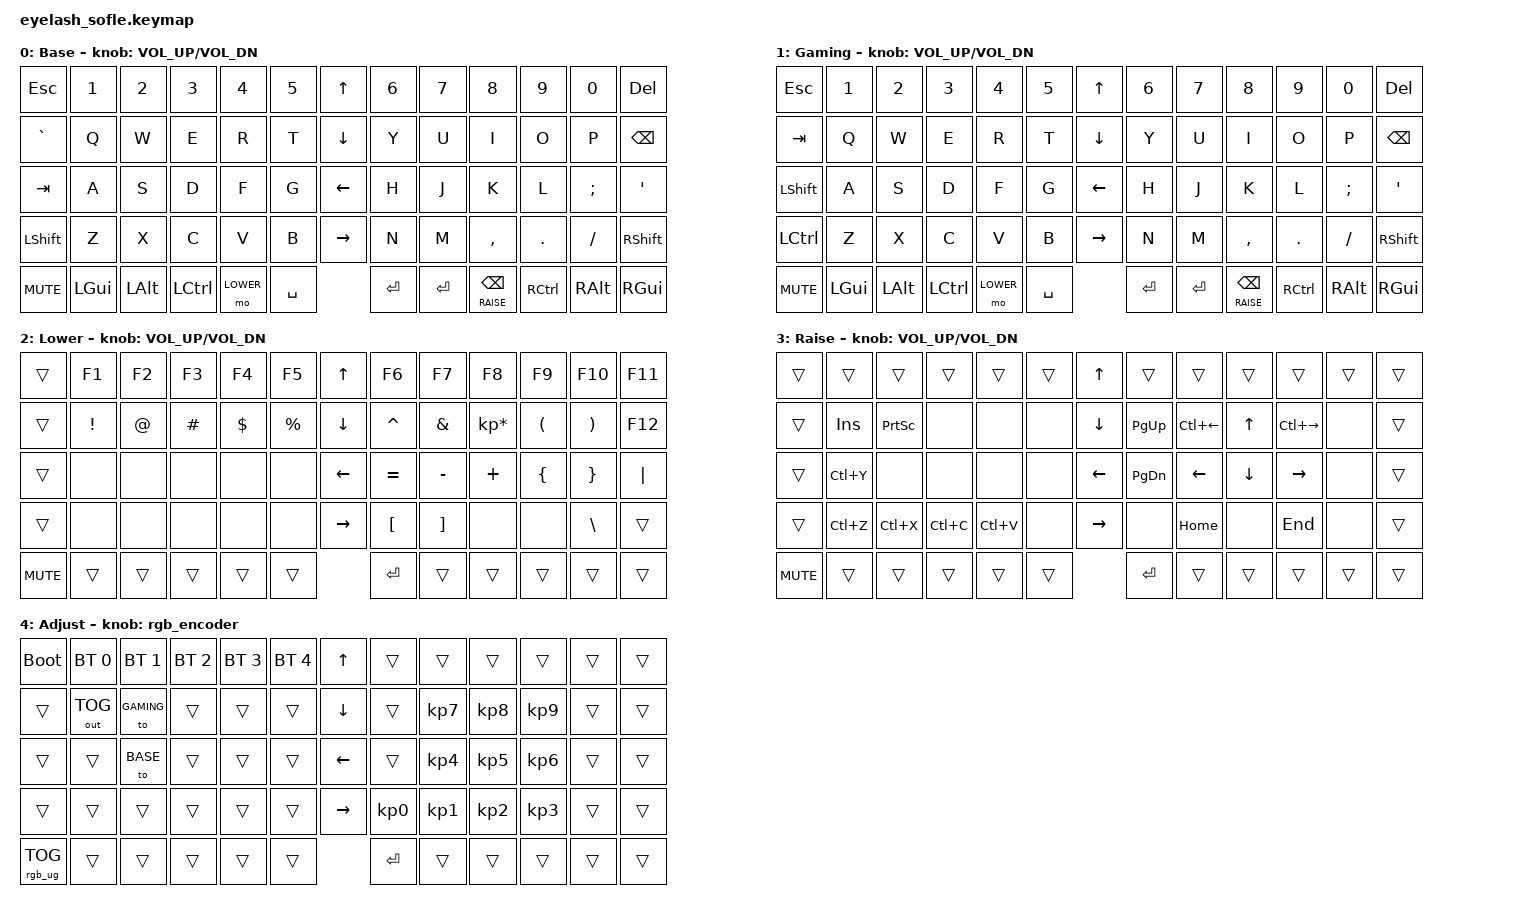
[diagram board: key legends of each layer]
#define ZMK_POINTING_DEFAULT_MOVE_VAL 1200  // 600
#define ZMK_POINTING_DEFAULT_SCRL_VAL 25   // 10

#include <input/processors.dtsi>
#include <zephyr/dt-bindings/input/input-event-codes.h>
#include <behaviors.dtsi>
#include <dt-bindings/zmk/bt.h>
#include <dt-bindings/zmk/ext_power.h>
#include <dt-bindings/zmk/keys.h>
#include <dt-bindings/zmk/pointing.h>
#include <dt-bindings/zmk/rgb.h>
#include <dt-bindings/zmk/outputs.h>

&lt {
    tapping-term-ms = <200>; // This is the value already set by default
};

#define BASE 0
#define GAMING 1
#define LOWER 2
#define RAISE 3
#define ADJUST 4

/ {
    behaviors {
        rgb_encoder: rgb_encoder {
            compatible = "zmk,behavior-sensor-rotate";
            #sensor-binding-cells = <0>;
            bindings = <&rgb_ug RGB_EFF>, <&rgb_ug RGB_EFR>;
        };
    };
    conditional_layers {
        compatible = "zmk,conditional-layers";

        adjust_layer {
            if-layers = <LOWER RAISE>;
            then-layer = <ADJUST>;
        };
    };

    keymap {
        compatible = "zmk,keymap";

        base_layer {
            label = "Base";
            display-name = "Base";
        
            // ------------------------------------------------------------------------------------------------------------
            // |  ESC  |  1  |  2  |  3   |  4   |  5   |                   |  6   |  7    |  8    |  9   |   0   |  DEL  |
            // |   `   |  Q  |  W  |  E   |  R   |  T   |                   |  Y   |  U    |  I    |  O   |   P   | BKSPC |
            // |  TAB  |  A  |  S  |  D   |  F   |  G   |                   |  H   |  J    |  K    |  L   |   ;   |   '   |
            // | SHIFT |  Z  |  X  |  C   |  V   |  B   |  MUTE  |  |       |  N   |  M    |  ,    |  .   |   /   | SHIFT |
            //               | GUI | ALT  | CTRL | LOWER|  SPACE |  | ENTER | RAISE| CTRL  | ALT   | GUI  |

            bindings = <
&kp ESC    &kp N1  &kp N2    &kp N3    &kp N4     &kp N5                  &kp UP_ARROW           &kp N6     &kp N7          &kp N8     &kp N9    &kp N0    &kp DELETE
&kp GRAVE  &kp Q   &kp W     &kp E     &kp R      &kp T                   &kp DOWN_ARROW         &kp Y      &kp U           &kp I      &kp O     &kp P     &kp BSPC
&kp TAB    &kp A   &kp S     &kp D     &kp F      &kp G                   &kp LEFT_ARROW         &kp H      &kp J           &kp K      &kp L     &kp SEMI  &kp SQT
&kp LSHFT  &kp Z   &kp X     &kp C     &kp V      &kp B                   &kp RIGHT_ARROW        &kp N      &kp M           &kp COMMA  &kp DOT   &kp FSLH  &kp RSHFT
&kp C_MUTE    &kp LGUI  &kp LALT  &kp LCTRL      &mo LOWER  &kp SPACE     &kp ENTER              &kp RET   &lt RAISE BSPC   &kp RCTRL   &kp RALT    &kp RGUI
            >;

            sensor-bindings = <&inc_dec_kp C_VOLUME_UP C_VOL_DN>;
        };

        gaming_layer {
            label = "Gaming";
            display-name = "Gaming";
        
            // ------------------------------------------------------------------------------------------------------------
            // |  ESC  |  1  |  2  |  3   |  4   |  5   |                   |  6   |  7    |  8    |  9   |   0   |  DEL  |
            // |  TAB  |  Q  |  W  |  E   |  R   |  T   |                   |  Y   |  U    |  I    |  O   |   P   | BKSPC |
            // | SHIFT |  A  |  S  |  D   |  F   |  G   |                   |  H   |  J    |  K    |  L   |   ;   |   '   |
            // |  CTRL |  Z  |  X  |  C   |  V   |  B   |  MUTE  |  |       |  N   |  M    |  ,    |  .   |   /   | SHIFT |
            //               | GUI | ALT  | CTRL | LOWER|  SPACE |  | ENTER | RAISE| CTRL  | ALT   | GUI  |

            bindings = <
&kp ESC     &kp N1    &kp N2    &kp N3     &kp N4       &kp N5        &kp UP_ARROW           &kp N6     &kp N7     &kp N8     &kp N9    &kp N0    &kp DELETE
&kp TAB     &kp Q     &kp W     &kp E      &kp R        &kp T         &kp DOWN_ARROW         &kp Y      &kp U      &kp I      &kp O     &kp P     &kp BSPC
&kp LSHFT   &kp A     &kp S     &kp D      &kp F        &kp G         &kp LEFT_ARROW         &kp H      &kp J      &kp K      &kp L     &kp SEMI  &kp SQT
&kp LCTRL   &kp Z     &kp X     &kp C      &kp V        &kp B         &kp RIGHT_ARROW        &kp N      &kp M      &kp COMMA  &kp DOT   &kp FSLH  &kp RSHFT
&kp C_MUTE  &kp LGUI  &kp LALT  &kp LCTRL  &mo LOWER    &kp SPACE     &kp ENTER              &kp RET    &lt RAISE BSPC   &kp RCTRL   &kp RALT    &kp RGUI
            >;

            sensor-bindings = <&inc_dec_kp C_VOLUME_UP C_VOL_DN>;
        };

        lower_layer {
            label = "Lower";
            display-name = "Lower";
            // ------------------------------------------------------------------------------------------------------------
            // |     |  F1 |  F2 |  F3  |  F4  |  F5  |                   |  F6  |  F7   |  F8   |  F9  |  F10  |  F11  |
            // |     |  !  |  @  |  #   |  $   |  %   |                   |  ^   |  &    |  *    |  (   |   )   |  F12  |
            // |     |     |     |      |      |      |                   |  =   |  -    |  +    |  {   |  }    |   |   |
            // |     |     |     |      |      |      |        |  |       |  [   |  ]    |       |      |   \   |       |
            //               |     |      |      |      |        |  |       |      |       |       |      |

            bindings = <
&trans      &kp F1     &kp F2     &kp F3      &kp F4      &kp F5          &kp UP_ARROW           &kp F6     &kp F7    &kp F8           &kp F9     &kp F10   &kp F11
&trans      &kp EXCL   &kp AT     &kp HASH     &kp DLLR  &kp PRCNT        &kp DOWN_ARROW         &kp CARET  &kp AMPS  &kp KP_MULTIPLY  &kp LPAR   &kp RPAR  &kp F12
&trans      &none      &none      &none        &none     &none            &kp LEFT_ARROW         &kp EQUAL  &kp MINUS &kp PLUS         &kp LBRC   &kp RBRC  &kp PIPE
&trans      &none      &none      &none        &none     &none            &kp RIGHT_ARROW        &kp LBKT   &kp RBKT  &none            &none      &kp BSLH  &trans
&kp C_MUTE  &trans     &trans      &trans     &trans     &trans           &kp ENTER              &trans     &trans    &trans           &trans     &trans
            >;

            sensor-bindings = <&inc_dec_kp C_VOLUME_UP C_VOL_DN>;
        };

        raise_layer {
            label = "Raise";
            display-name = "Raise";
            // ------------------------------------------------------------------------------------------------------------
            // |       |     |     |      |      |      |                   |      |       |       |      |       |       |
            // |       | Ins | Pscr|      |      |      |                   | PGUP |  PWrd |  up   | NWrd |       |       |
            // |       | Redo|     |      |      |      |                   | PGDN |  LEFT |  DOWN |RIGHT |       |       |
            // |       | Undo| Cut | Copy | Paste|      |        |  |       |      |  Home |       |  END |       |       |
            //               |     |      |      |      |        |  |       |      |       |       |      |

            bindings = <
&trans      &trans      &trans      &trans     &trans    &trans        &kp UP_ARROW        &trans     &trans       &trans     &trans        &trans   &trans
&trans      &kp INSERT  &kp PSCRN   &none      &none     &none         &kp DOWN_ARROW      &kp PG_UP  &kp LC(LEFT) &kp UP     &kp LC(RIGHT) &none   &trans
&trans      &kp LC(Y)   &none       &none      &none     &none         &kp LEFT_ARROW      &kp PG_DN  &kp LEFT     &kp DOWN   &kp RIGHT     &none   &trans
&trans      &kp LC(Z)   &kp LC(X)   &kp LC(C)  &kp LC(V) &none         &kp RIGHT_ARROW     &none      &kp HOME     &none      &kp END       &none   &trans
&kp C_MUTE  &trans      &trans      &trans     &trans    &trans        &kp ENTER           &trans     &trans       &trans     &trans        &trans
            >;

            sensor-bindings = <&inc_dec_kp C_VOLUME_UP C_VOL_DN>;
        };

        adjust_layer {
            label = "Adjust";
            display-name = "Adjust";

            // TODO: Some binds are waiting for shifted keycode support.
            // ------------------------------------------------------------------------------------------------------------
            // | boot  | BT0 | BT1  |  BT2 | BT3  |  BT4 |                   |      |       |       |      |       |       |
            // |       |BT/USB|GAMING|      |      |      |                   |      |   7   |   8   |   9  |       |       |
            // |       |     |QWERTY|      |      |      |                   |      |   4   |   5   |   6  |       |       |
            // |       |     |      |      |      |      |  RGB   |  |       |   0  |   1   |   2   |   3  |       |       |
            //               |      |      |      |      |        |  |       |      |       |       |      |

            bindings = <
&bootloader      &bt BT_SEL 0  &bt BT_SEL 1    &bt BT_SEL 2  &bt BT_SEL 3  &bt BT_SEL 4        &kp UP_ARROW           &trans     &trans     &trans  &trans  &trans  &trans  
&trans           &out OUT_TOG  &to GAMING      &trans        &trans        &trans              &kp DOWN_ARROW         &trans     &kp KP_N7  &kp KP_N8  &kp KP_N9  &trans  &trans
&trans           &trans        &to BASE        &trans        &trans        &trans              &kp LEFT_ARROW         &trans     &kp KP_N4  &kp KP_N5  &kp KP_N6  &trans  &trans
&trans           &trans        &trans          &trans        &trans        &trans              &kp RIGHT_ARROW        &kp KP_N0  &kp KP_N1  &kp KP_N2  &kp KP_N3  &trans  &trans
&rgb_ug RGB_TOG  &trans        &trans          &trans        &trans        &trans              &kp ENTER              &trans     &trans     &trans     &trans     &trans 
            >;

            sensor-bindings = <&rgb_encoder>;
        };
    };
};
